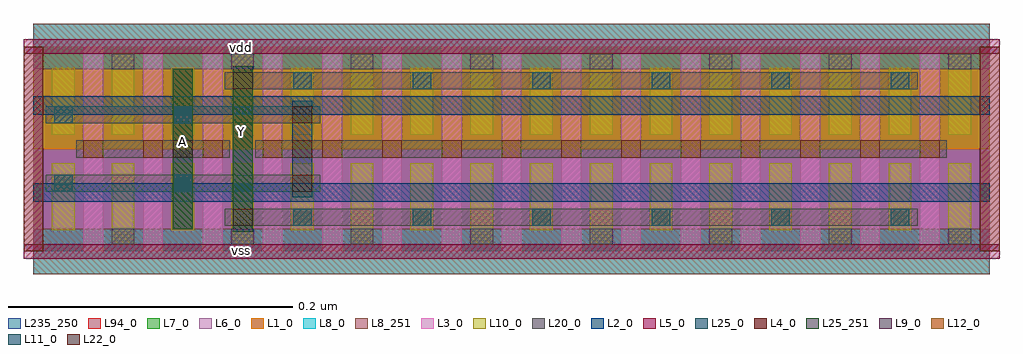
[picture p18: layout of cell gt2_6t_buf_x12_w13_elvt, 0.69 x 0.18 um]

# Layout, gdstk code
import gdstk
lib = gdstk.Library(unit=1e-6, precision=1e-10)
def R(c, l, rs):  # rectangles x0, y0, x1, y1
    for r in rs: c.add(gdstk.rectangle(r[:2], r[2:], *l))
def A(c, l, x, y, w, h, nx, ny, dx, dy):  # array of equal rectangles
    R(c, l, [(x+i*dx, y+j*dy, x+i*dx+w, y+j*dy+h) for i in range(nx) for j in range(ny)])
L1_0 = (1, 0)
L2_0 = (2, 0)
L3_0 = (3, 0)
L4_0 = (4, 0)
L5_0 = (5, 0)
L6_0 = (6, 0)
L7_0 = (7, 0)
L8_0 = (8, 0)
L8_251 = (8, 251)
L9_0 = (9, 0)
L10_0 = (10, 0)
L11_0 = (11, 0)
L12_0 = (12, 0)
L20_0 = (20, 0)
L22_0 = (22, 0)
L25_0 = (25, 0)
L25_251 = (25, 251)
L94_0 = (94, 0)
L235_250 = (235, 250)

gt2_6t_buf_x12_w13_elvt = lib.new_cell('gt2_6t_buf_x12_w13_elvt')
R(gt2_6t_buf_x12_w13_elvt, L1_0, [(0,0.072,0.672,0.144)])
R(gt2_6t_buf_x12_w13_elvt, L2_0, [(0,0.035,0.672,0.048), (0,0.096,0.672,0.109)])
A(gt2_6t_buf_x12_w13_elvt, L3_0, -0.007, 0, 0.014, 0.144, 10, 1, 0.042, 0)
A(gt2_6t_buf_x12_w13_elvt, L3_0, 0.371, 0, 0.014, 0.144, 3, 1, 0.042, 0)
A(gt2_6t_buf_x12_w13_elvt, L3_0, 0.455, 0, 0.014, 0.144, 3, 1, 0.042, 0)
A(gt2_6t_buf_x12_w13_elvt, L3_0, 0.539, 0, 0.014, 0.144, 3, 1, 0.042, 0)
R(gt2_6t_buf_x12_w13_elvt, L3_0, [(0.623,0,0.637,0.144), (0.665,0,0.679,0.144)])
R(gt2_6t_buf_x12_w13_elvt, L4_0, [(-0.007,0,0.007,0.144), (0.665,0,0.679,0.144)])
R(gt2_6t_buf_x12_w13_elvt, L5_0, [(-0.007,-0.005,0.679,0.005), (-0.007,0.139,0.679,0.149)])
R(gt2_6t_buf_x12_w13_elvt, L6_0, [(0,0,0.672,0.072)])
R(gt2_6t_buf_x12_w13_elvt, L7_0, [(0,0.072,0.672,0.144)])
R(gt2_6t_buf_x12_w13_elvt, L8_0, [(0,-0.016,0.672,0.016), (0,0.128,0.672,0.16)])
R(gt2_6t_buf_x12_w13_elvt, L8_251, [(0,-0.016,0.672,0.016), (0,0.128,0.672,0.16)])
A(gt2_6t_buf_x12_w13_elvt, L9_0, 0.055, 0.005, 0.016, 0.011, 8, 2, 0.084, 0.123)
A(gt2_6t_buf_x12_w13_elvt, L10_0, 0.055, 0.005, 0.016, 0.057, 8, 2, 0.084, 0.077)
A(gt2_6t_buf_x12_w13_elvt, L10_0, 0.013, 0.015, 0.016, 0.047, 8, 2, 0.084, 0.067)
A(gt2_6t_buf_x12_w13_elvt, L11_0, 0.1825, 0.018, 0.013, 0.012, 6, 2, 0.084, 0.096)
R(gt2_6t_buf_x12_w13_elvt, L11_0, [(0.0145,0.042,0.0275,0.054), (0.0985,0.042,0.1115,0.054), (0.0145,0.09,0.0275,0.102), (0.0985,0.09,0.1115,0.102)])
A(gt2_6t_buf_x12_w13_elvt, L12_0, 0.035, 0.066, 0.014, 0.012, 15, 1, 0.042, 0)
R(gt2_6t_buf_x12_w13_elvt, L20_0, [(0.1345,0.018,0.6215,0.03), (0.0085,0.042,0.2015,0.054), (0.03,0.066,0.138,0.078), (0.156,0.066,0.642,0.078), (0.0085,0.09,0.2015,0.102), (0.1345,0.114,0.6215,0.126)])
A(gt2_6t_buf_x12_w13_elvt, L22_0, 0.182, 0.042, 0.014, 0.012, 1, 3, 0, 0.024)
R(gt2_6t_buf_x12_w13_elvt, L22_0, [(0.14,0.018,0.154,0.03), (0.098,0.066,0.112,0.078), (0.14,0.114,0.154,0.126)])
R(gt2_6t_buf_x12_w13_elvt, L25_0, [(0.14,0.014,0.154,0.13), (0.098,0.0155,0.112,0.1285), (0.182,0.038,0.196,0.106)])
R(gt2_6t_buf_x12_w13_elvt, L25_251, [(0.14,0.014,0.154,0.13), (0.098,0.0155,0.112,0.1285)])
R(gt2_6t_buf_x12_w13_elvt, L94_0, [(0,0,0.672,0.144)])
R(gt2_6t_buf_x12_w13_elvt, L235_250, [(0,0,0.672,0.144)])
gt2_6t_buf_x12_w13_elvt.add(gdstk.Label('vdd', (0.1465,0.1435), layer=8, texttype=251))
gt2_6t_buf_x12_w13_elvt.add(gdstk.Label('vss', (0.1465,0.0005), layer=8, texttype=251))
gt2_6t_buf_x12_w13_elvt.add(gdstk.Label('Y', (0.146,0.084), layer=25, texttype=251))
gt2_6t_buf_x12_w13_elvt.add(gdstk.Label('A', (0.1045,0.0775), layer=25, texttype=251))

lib.write_gds('gt2_6t_buf_x12_w13_elvt.gds')
